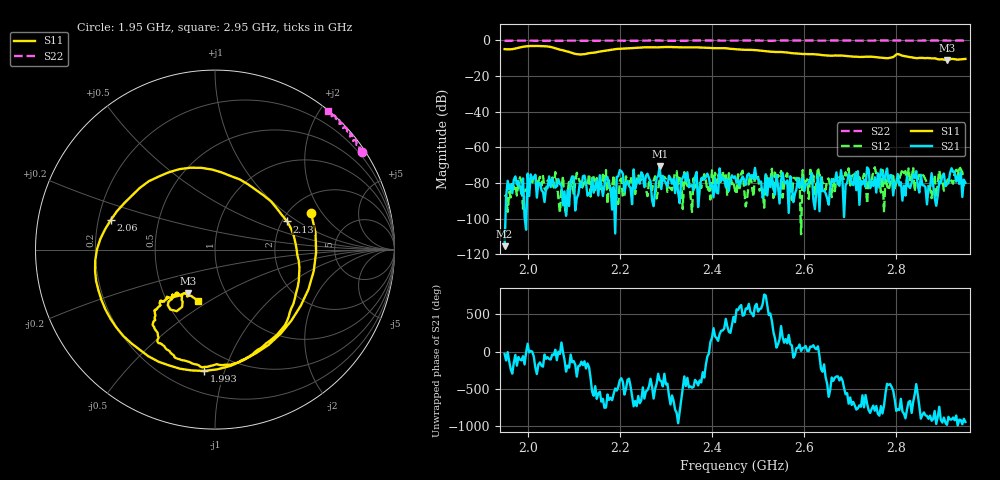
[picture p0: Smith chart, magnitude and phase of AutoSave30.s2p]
!Agilent N9923A: A.07.32
!Date: Thursday, 02 June 2016 22:55:19
!Model: N9923A
!Serial: MY52412257
!GPS Latitude:
!GPS Longitude:
!GPS TimeStamp: 0001-01-01 00:00:00Z
!GPS Seconds Since Last Read: 0
!CHECKSUM:1409287264
!Correction: S11(ON U)S21(ON U)S12(ON U)S22(ON U)
!S2P File: Measurements:S11,S21,S12,S22:
# Hz S DB R 50
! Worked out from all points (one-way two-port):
!   301 points, 1.95 GHz to 2.95 GHz, reference 50 ohm
!   highest |S21| = -70.71 dB at 2.287 GHz (marker M1); lowest = -115.5 dB at 1.95 GHz (marker M2)
!   lowest |S11| = -10.9 dB at 2.91 GHz (marker M3), VSWR 1.80, Z = 33.2 - j17.4 ohm
!   |S11| at or under -10 dB: 2.875 GHz to end of sweep
!   |S22| runs from -0.2 to 0.0 dB; largest |S21 - S12| = 0.00045
!   S11 on the Smith chart (normalised r, x): 1.95 GHz: 2.62, +1.58; 1.993 GHz: 0.34, -0.85; 2.06 GHz: 0.25, +0.13; 2.13 GHz: 2.13, +0.82; 2.95 GHz: 0.71, -0.45
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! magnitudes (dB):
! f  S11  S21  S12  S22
! 1.95 GHz  -4.8  -115.5  -87.7  -0.1
! 1.993 GHz  -3.4  -99.2  -84.3  -0.1
! 2.06 GHz  -4.4  -82.6  -73.9  -0.1
! 2.12 GHz  -7.7  -76.2  -81.8  -0.2
! 2.13 GHz  -7.3  -87.2  -81.3  -0.2
! 2.277 GHz  -3.8  -84.4  -76.3  -0.1
! 2.287 GHz  -3.8  -70.7  -77.8  -0.1
! 2.29 GHz  -3.8  -83.4  -75.9  -0.1
! 2.413 GHz  -4.4  -85.8  -75.4  -0.1
! 2.417 GHz  -4.4  -71.8  -81.0  -0.1
! 2.453 GHz  -5.0  -79.8  -86.5  -0.1
! 2.493 GHz  -5.4  -71.5  -76.6  -0.1
! 2.62 GHz  -7.7  -89.2  -75.9  -0.1
! 2.733 GHz  -9.1  -82.2  -77.2  -0.1
! 2.737 GHz  -9.1  -71.3  -91.6  -0.1
! 2.753 GHz  -9.3  -76.8  -71.2  0.0
! 2.783 GHz  -9.9  -79.6  -84.2  0.0
! 2.837 GHz  -9.6  -75.1  -71.1  -0.1
! 2.84 GHz  -9.8  -77.1  -84.8  -0.1
! 2.91 GHz  -10.9  -80.8  -79.3  -0.1
! 2.92 GHz  -10.4  -71.7  -79.1  -0.1
! 2.95 GHz  -10.3  -79.8  -77.9  0.0
